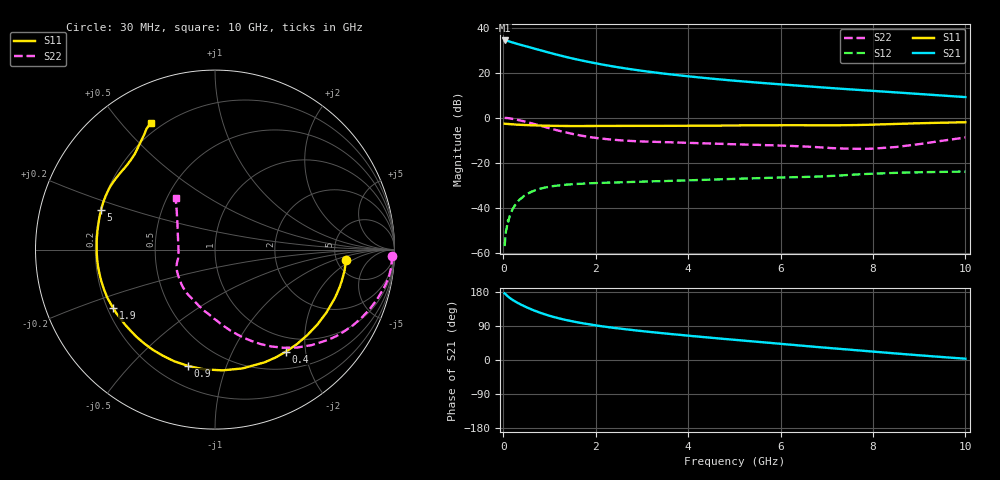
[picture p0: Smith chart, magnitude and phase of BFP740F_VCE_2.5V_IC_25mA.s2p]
! Infineon Technologies  Discrete & RF Semiconductors
! BFP740F
! VCE =  2.5 V,  IC =  25 mA
! Common Emitter S-Parameters:  Oct 2012
# GHz  S  MA  R  50
!  f  S11  S21  S12  S22
! GHz  MAG  ANG  MAG  ANG  MAG  ANG  MAG  ANG
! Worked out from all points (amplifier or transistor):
!   99 points, 30 MHz to 10 GHz, reference 50 ohm
!   highest |S21| = 34.3 dB at 30 MHz (marker M1)
!   |S21| within 3 dB of that: start of sweep to 565.8 MHz
!   unconditionally stable (mu >= 1): 5.565 GHz to end of sweep
!   at 350 MHz: K = 0.16, MSG = 34.5 dB, |S12| = -36.5 dB
!   at 3.5 GHz: K = 0.74, MSG = 23.8 dB, |S12| = -28.2 dB
!   at 10 GHz: K = 1.18, MAG = 13.9 dB, |S12| = -23.9 dB
!   S11 on the Smith chart (normalised r, x): 30 MHz: 6.13, -1.53; 400 MHz: 0.76, -1.65; 900 MHz: 0.32, -0.74; 1.9 GHz: 0.22, -0.25; 5 GHz: 0.20, +0.16; 10 GHz: 0.16, +0.60
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0.03  0.7342 -4.5  51.99 175.8  0.0014 80.3  0.9854 -2.0
0.05  0.731 -7.6  51.99 173.6  0.0024 86.2  0.9869 -4.2
0.1  0.7259 -15.3  50.61 167.9  0.0052 88.5  0.979 -9.1
0.15  0.7195 -22.6  48.79 163.0  0.0069 80.1  0.9616 -13.5
0.2  0.713 -29.5  46.99 158.8  0.0092 77.9  0.942 -17.6
0.3  0.7012 -42.7  43.77 151.6  0.0131 70.5  0.8993 -25.2
0.4  0.6925 -55.1  40.98 145.2  0.0165 64.7  0.8528 -32.2
0.6  0.6794 -77.0  36.02 134.1  0.0224 55.4  0.7576 -44.6
0.8  0.6701 -95.1  31.61 124.6  0.0264 47.9  0.666 -55.2
0.9  0.6654 -103.0  29.65 120.5  0.028 45.1  0.6227 -60.0
1.1  0.6587 -116.4  26.1 113.3  0.0304 39.9  0.5467 -68.4
1.3  0.6548 -127.3  23.14 107.1  0.0321 36.2  0.4849 -75.8
1.5  0.6522 -136.3  20.68 102.0  0.0333 33.3  0.436 -82.3
1.7  0.6522 -143.8  18.64 97.4  0.0341 31.3  0.3973 -88.3
1.9  0.6538 -150.1  16.94 93.4  0.035 29.6  0.3677 -94.1
2.4  0.6569 -162.6  13.65 84.7  0.0364 26.9  0.3232 -106.9
3.4  0.6594 -179.3  9.762 71.3  0.0389 25.4  0.2887 -123.3
5  0.672 160.9  6.64 53.3  0.0437 25.5  0.2571 -140.4
5.1  0.6735 159.9  6.509 52.3  0.044 25.3  0.2555 -141.7
6.7  0.6792 142.7  4.874 35.3  0.0489 25.6  0.2243 -160.8
8.5  0.7272 124.9  3.645 17.2  0.0596 22.7  0.2235 157.9
10  0.7929 116.8  2.869 3.4  0.0635 17.2  0.3633 127.2
